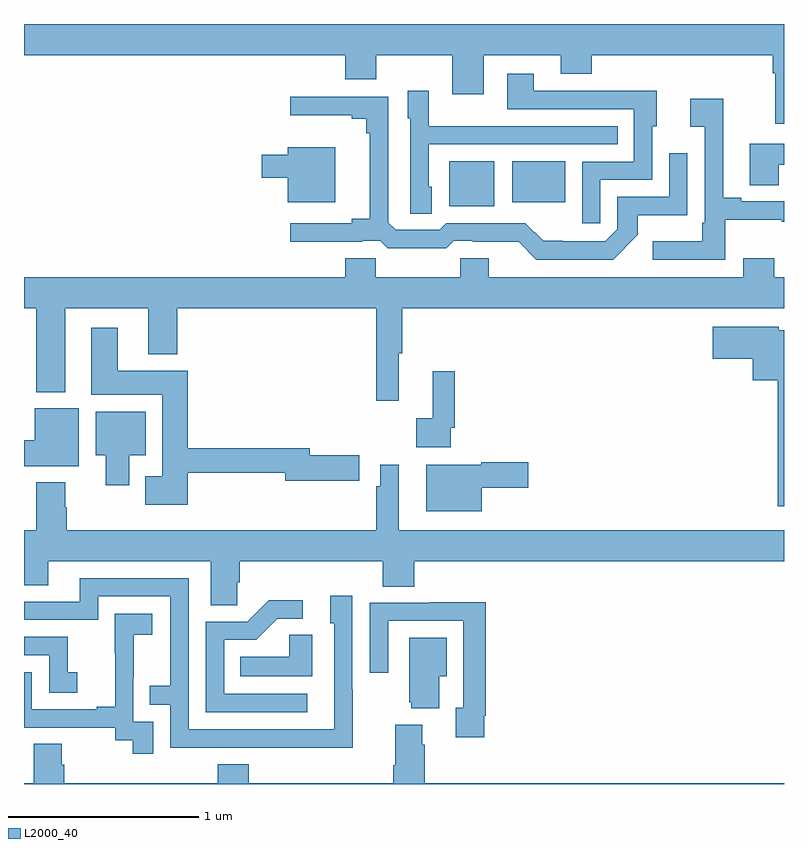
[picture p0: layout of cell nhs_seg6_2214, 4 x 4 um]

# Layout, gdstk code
import gdstk
lib = gdstk.Library(unit=1e-6, precision=1e-09)
def R(c, l, rs):  # rectangles x0, y0, x1, y1
    for r in rs: c.add(gdstk.rectangle(r[:2], r[2:], *l))
def P(c, l, *ps):  # polygons
    for p in ps: c.add(gdstk.Polygon(p, *l))
L2000_40 = (2000, 40)

nhs_seg6_2214 = lib.new_cell('nhs_seg6_2214')
R(nhs_seg6_2214, L2000_40, [(245.237,946.541,245.476,946.777), (245.57,946.562,245.848,946.777)])
P(nhs_seg6_2214, L2000_40, [(247,947.5),(243,947.5),(243,947.336),(244.691,947.336),(244.691,947.208),(244.855,947.208),(244.855,947.336),(245.255,947.336),(245.255,947.13),(245.419,947.13),(245.419,947.336),(245.825,947.336),(245.825,947.237),(245.989,947.237),(245.989,947.336),(246.941,947.336),(246.941,947.24),(246.953,947.24),(246.953,946.974),(247,946.974)],
  [(246.033,946.68),(246.306,946.68),(246.306,946.962),(246.331,946.962),(246.331,947.15),(246.113,947.15),(246.113,947.148),(245.683,947.148),(245.683,947.239),(245.543,947.239),(245.543,947.052),(246.21,947.052),(246.21,946.776),(245.937,946.776),(245.937,946.452),(246.033,946.452)],
  [(245.146,946.644),(245.13,946.644),(245.13,946.866),(246.125,946.866),(246.125,946.962),(245.447,946.962),(245.447,946.963),(245.13,946.963),(245.13,947.149),(245.021,947.149),(245.021,947.004),(245.034,947.004),(245.034,946.501),(245.146,946.501)],
  [(246.231,946.391),(246.231,946.493),(246.492,946.493),(246.492,946.819),(246.396,946.819),(246.396,946.59),(246.123,946.59),(246.123,946.419),(246.06,946.356),(245.836,946.356),(245.836,946.358),(245.732,946.358),(245.637,946.452),(245.223,946.452),(245.187,946.416),(244.956,946.416),(244.917,946.455),(244.917,947.118),(244.401,947.118),(244.401,947.021),(244.724,947.021),(244.724,947.002),(244.801,947.002),(244.801,946.925),(244.82,946.925),(244.82,946.475),(244.724,946.475),(244.724,946.452),(244.401,946.452),(244.401,946.355),(244.781,946.355),(244.781,946.359),(244.875,946.359),(244.915,946.32),(245.223,946.32),(245.262,946.359),(245.362,946.359),(245.362,946.355),(245.603,946.355),(245.697,946.26),(246.1,946.26)],
  [(246.691,946.469),(246.989,946.469),(246.989,946.458),(247,946.458),(247,946.566),(246.775,946.566),(246.775,946.585),(246.679,946.585),(246.679,947.107),(246.507,947.107),(246.507,946.958),(246.582,946.958),(246.582,946.453),(246.57,946.453),(246.57,946.357),(246.309,946.357),(246.309,946.26),(246.691,946.26)],
  [(246.973,946.76),(247,946.76),(247,946.87),(246.821,946.87),(246.821,946.651),(246.973,946.651)],
  [(244.639,946.852),(244.388,946.852),(244.388,946.813),(244.251,946.813),(244.251,946.691),(244.388,946.691),(244.388,946.562),(244.639,946.562)],
  [(244.973,945.768),(244.991,945.768),(244.991,946.004),(247,946.004),(247,946.168),(246.949,946.168),(246.949,946.267),(246.785,946.267),(246.785,946.168),(245.446,946.168),(245.446,946.266),(245.296,946.266),(245.296,946.168),(244.851,946.168),(244.851,946.266),(244.691,946.266),(244.691,946.168),(243,946.168),(243,946.004),(243.065,946.004),(243.065,945.563),(243.217,945.563),(243.217,946.004),(243.653,946.004),(243.653,945.761),(243.806,945.761),(243.806,946.004),(244.855,946.004),(244.855,945.516),(244.973,945.516)],
  [(247,945.889),(246.972,945.889),(246.972,945.907),(246.624,945.907),(246.624,945.737),(246.836,945.737),(246.836,945.626),(246.966,945.626),(246.966,944.961),(247,944.961)],
  [(243.863,945.138),(244.376,945.138),(244.376,945.095),(244.765,945.095),(244.765,945.23),(244.504,945.23),(244.504,945.266),(243.863,945.266),(243.863,945.676),(243.493,945.676),(243.493,945.901),(243.353,945.901),(243.353,945.548),(243.728,945.548),(243.728,945.121),(243.638,945.121),(243.638,944.969),(243.863,944.969)],
  [(245.247,945.376),(245.267,945.376),(245.267,945.673),(245.15,945.673),(245.15,945.425),(245.064,945.425),(245.064,945.272),(245.247,945.272)],
  [(243.289,945.478),(243.056,945.478),(243.056,945.308),(243,945.308),(243,945.173),(243.289,945.173)],
  [(243.553,945.23),(243.64,945.23),(243.64,945.46),(243.377,945.46),(243.377,945.23),(243.431,945.23),(243.431,945.072),(243.553,945.072)],
  [(245.41,945.059),(245.653,945.059),(245.653,945.194),(245.406,945.194),(245.406,945.181),(245.117,945.181),(245.117,944.936),(245.41,944.936)],
  [(244.122,944.563),(244.136,944.563),(244.136,944.672),(244.889,944.672),(244.889,944.539),(245.054,944.539),(245.054,944.672),(247,944.672),(247,944.836),(244.972,944.836),(244.972,945.181),(244.875,945.181),(244.875,945.068),(244.855,945.068),(244.855,944.836),(243.225,944.836),(243.225,944.957),(243.217,944.957),(243.217,945.088),(243.065,945.088),(243.065,944.836),(243,944.836),(243,944.545),(243.127,944.545),(243.127,944.672),(243.983,944.672),(243.983,944.44),(244.122,944.44)],
  [(244.731,943.997),(244.728,943.997),(244.728,944.491),(244.613,944.491),(244.613,944.346),(244.632,944.346),(244.632,943.788),(243.867,943.788),(243.867,944.583),(243.293,944.583),(243.293,944.46),(243,944.46),(243,944.364),(243.39,944.364),(243.39,944.487),(243.771,944.487),(243.771,944.018),(243.661,944.018),(243.661,943.917),(243.771,943.917),(243.771,943.692),(244.267,943.692),(244.267,943.691),(244.731,943.691)],
  [(244.492,943.974),(244.053,943.974),(244.053,944.259),(244.222,944.259),(244.333,944.37),(244.468,944.37),(244.468,944.468),(244.289,944.468),(244.176,944.355),(243.957,944.355),(243.957,943.878),(244.492,943.878)],
  [(245.422,943.858),(245.429,943.858),(245.429,944.456),(245.137,944.456),(245.137,944.454),(244.821,944.454),(244.821,944.085),(244.917,944.085),(244.917,944.358),(245.313,944.358),(245.313,943.902),(245.273,943.902),(245.273,943.746),(245.422,943.746)],
  [(243.681,943.827),(243.576,943.827),(243.576,944.057),(243.578,944.057),(243.578,944.285),(243.676,944.285),(243.676,944.395),(243.478,944.395),(243.478,944.189),(243.479,944.189),(243.479,943.906),(243.383,943.906),(243.383,943.893),(243.042,943.893),(243.042,944.088),(243,944.088),(243,943.797),(243.48,943.797),(243.48,943.729),(243.573,943.729),(243.573,943.659),(243.681,943.659)],
  [(244.516,944.285),(244.395,944.285),(244.395,944.17),(244.138,944.17),(244.138,944.066),(244.516,944.066)],
  [(243.28,944.089),(243.231,944.089),(243.231,944.274),(243,944.274),(243,944.178),(243.132,944.178),(243.132,943.98),(243.28,943.98)],
  [(245.185,944.066),(245.224,944.066),(245.224,944.269),(245.027,944.269),(245.027,943.929),(245.039,943.929),(245.039,943.898),(245.185,943.898)],
  [(247,943.504),(245.108,943.504),(245.108,943.706),(245.095,943.706),(245.095,943.813),(244.955,943.813),(244.955,943.6),(244.943,943.6),(244.943,943.504),(244.184,943.504),(244.184,943.603),(244.019,943.603),(244.019,943.504),(243.212,943.504),(243.212,943.602),(243.199,943.602),(243.199,943.712),(243.052,943.712),(243.052,943.504),(243,943.504),(243,943.5),(247,943.5)])

lib.write_gds('nhs_seg6_2214.gds')
